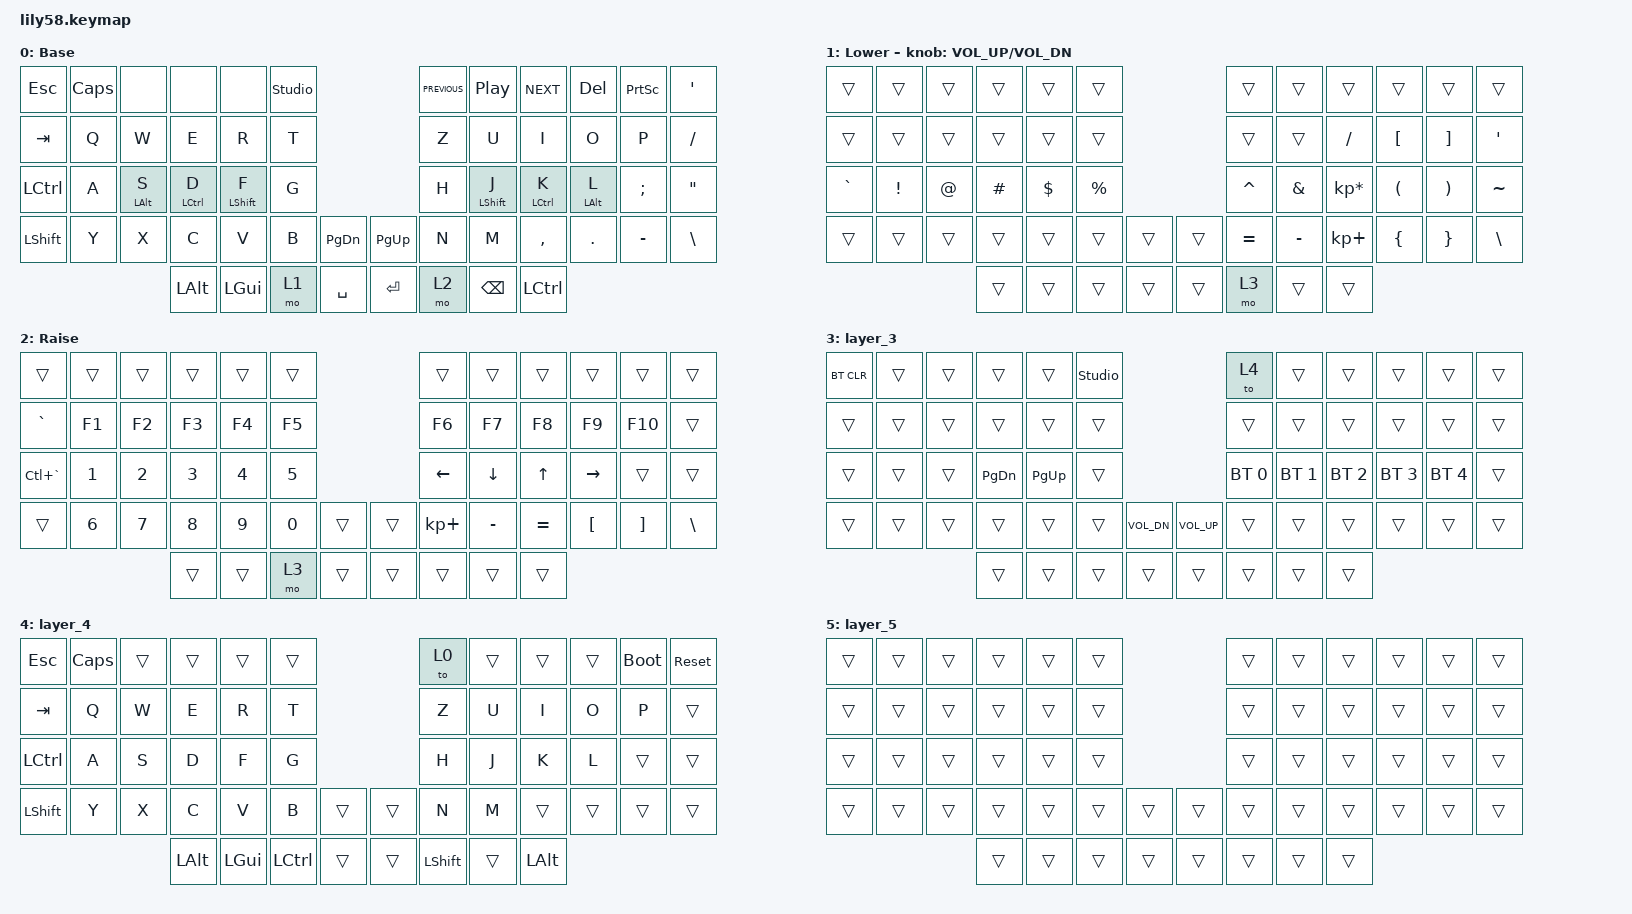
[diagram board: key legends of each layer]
/*
 * Copyright (c) 2020 The ZMK Contributors
 *
 * SPDX-License-Identifier: MIT
 */

#include <behaviors.dtsi>
#include <dt-bindings/zmk/bt.h>
#include <dt-bindings/zmk/keys.h>

&mt {
    flavor = "tap-preferred";
    tapping-term-ms = <170>;
};

/ {
    combos {
        compatible = "zmk,combos";

        caps_combo {
            bindings = <&kp CAPSLOCK>;
            key-positions = <26 27 28>;
            timeout-ms = <0>;
            layers = <0 2 3>;
        };

        esc_combo {
            bindings = <&kp ESCAPE>;
            key-positions = <33 32 31>;
            layers = <0 2 3>;
        };
    };

    keymap {
        compatible = "zmk,keymap";

        default_layer {
            // ------------------------------------------------------------------------------------------------------------
            // |  ESC  |  1  |  2  |  3   |  4   |  5   |                   |  6   |  7    |  8    |  9   |   0   |   `   |
            // |  TAB  |  Q  |  W  |  E   |  R   |  T   |                   |  Y   |  U    |  I    |  O   |   P   |   -   |
            // |  CTRL |  A  |  S  |  D   |  F   |  G   |                   |  H   |  J    |  K    |  L   |   ;   |   '   |
            // | SHIFT |  Z  |  X  |  C   |  V   |  B   |   "["  |  |  "]"  |  N   |  M    |  ,    |  .   |   /   | SHIFT |
            //                     | ALT  | GUI  | LOWER|  SPACE |  | ENTER | RAISE| BSPC  | GUI   |

            display-name = "Base";
            bindings = <
&kp ESC    &kp CAPSLOCK  &none           &none        &none             &studio_unlock                                &kp C_PREVIOUS  &kp C_PLAY_PAUSE  &kp C_NEXT   &kp DEL         &kp PRINTSCREEN  &kp SQT
&kp TAB    &kp Q         &kp W           &kp E        &kp R             &kp T                                         &kp Z           &kp U             &kp I        &kp O           &kp P            &kp SLASH
&kp LCTRL  &kp A         &mt LEFT_ALT S  &mt LCTRL D  &mt LEFT_SHIFT F  &kp G                                         &kp H           &mt LEFT_SHIFT J  &mt LCTRL K  &mt LEFT_ALT L  &kp SEMI         &kp DOUBLE_QUOTES
&kp LSHFT  &kp Y         &kp X           &kp C        &kp V             &kp B           &kp PAGE_DOWN    &kp PAGE_UP  &kp N           &kp M             &kp COMMA    &kp DOT         &kp MINUS        &kp BACKSLASH
                                         &kp LALT     &kp LGUI          &mo 1           &kp SPACE        &kp RET      &mo 2           &kp BSPC          &kp LCTRL
            >;
        };

        lower_layer {
            // ------------------------------------------------------------------------------------------------------------
            // | BTCLR | BT1 | BT2 |  BT3 |  BT4 |  BT5 |                   |      |       |       |      |       |       |
            // |  F1   |  F2 |  F3 |  F4  |  F5  |  F6  |                   |  F7  |  F8   |  F9   |  F10 |  F11  |  F12  |
            // |   `   |  !  |  @  |  #   |  $   |  %   |                   |  ^   |  &    |  *    |  (   |   )   |   ~   |
            // |       |     |     |      |      |      |        |  |       |      |  _    |  +    |  {   |   }   |  "|"  |
            //                     |      |      |      |        |  |       |      |       |       |

            display-name = "Lower";
            bindings = <
&trans     &trans    &trans  &trans    &trans      &trans                       &trans     &trans     &trans           &trans            &trans             &trans
&trans     &trans    &trans  &trans    &trans      &trans                       &trans     &trans     &kp SLASH        &kp LEFT_BRACKET  &kp RIGHT_BRACKET  &kp SQT
&kp GRAVE  &kp EXCL  &kp AT  &kp HASH  &kp DOLLAR  &kp PRCNT                    &kp CARET  &kp AMPS   &kp KP_MULTIPLY  &kp LPAR          &kp RPAR           &kp TILDE
&trans     &trans    &trans  &trans    &trans      &trans     &trans    &trans  &kp EQUAL  &kp MINUS  &kp KP_PLUS      &kp LBRC          &kp RBRC           &kp BACKSLASH
                             &trans    &trans      &trans     &trans    &trans  &mo 3      &trans     &trans
            >;

            sensor-bindings = <&inc_dec_kp C_VOL_UP C_VOL_DN>;
        };

        raise_layer {
            // ------------------------------------------------------------------------------------------------------------
            // |       |     |     |      |      |      |                   |      |       |       |      |       |       |
            // |   `   |  1  |  2  |  3   |  4   |  5   |                   |  6   |   7   |   8   |  9   |   0   |       |
            // |   F1  |  F2 |  F3 |  F4  |  F5  |  F6  |                   |      |   <-  |   v   |  ^   |  ->   |       |
            // |   F7  |  F8 |  F9 |  F10 |  F11 |  F12 |        |  |       |  +   |   -   |   =   |  [   |   ]   |   \   |
            //                     |      |      |      |        |  |       |      |       |       |

            display-name = "Raise";
            bindings = <
&trans         &trans        &trans        &trans        &trans        &trans                    &trans       &trans          &trans        &trans     &trans    &trans
&kp GRAVE      &kp F1        &kp F2        &kp F3        &kp F4        &kp F5                    &kp F6       &kp F7          &kp F8        &kp F9     &kp F10   &trans
&kp LC(GRAVE)  &kp NUMBER_1  &kp NUMBER_2  &kp NUMBER_3  &kp NUMBER_4  &kp N5                    &kp LEFT     &kp DOWN_ARROW  &kp UP_ARROW  &kp RIGHT  &trans    &trans
&trans         &kp NUMBER_6  &kp N7        &kp N8        &kp N9        &kp N0  &trans    &trans  &kp KP_PLUS  &kp MINUS       &kp EQUAL     &kp LBKT   &kp RBKT  &kp BSLH
                                           &trans        &trans        &mo 3   &trans    &trans  &trans       &trans          &trans
            >;
        };

        layer_3 {
            bindings = <
&bt BT_CLR  &trans  &trans  &trans         &trans       &studio_unlock                                   &to 4         &trans        &trans        &trans        &trans        &trans
&trans      &trans  &trans  &trans         &trans       &trans                                           &trans        &trans        &trans        &trans        &trans        &trans
&trans      &trans  &trans  &kp PAGE_DOWN  &kp PAGE_UP  &trans                                           &bt BT_SEL 0  &bt BT_SEL 1  &bt BT_SEL 2  &bt BT_SEL 3  &bt BT_SEL 4  &trans
&trans      &trans  &trans  &trans         &trans       &trans          &kp C_VOL_DN    &kp C_VOLUME_UP  &trans        &trans        &trans        &trans        &trans        &trans
                            &trans         &trans       &trans          &trans          &trans           &trans        &trans        &trans
            >;
        };

        layer_4 {
            bindings = <
&kp ESC         &kp CAPSLOCK  &trans  &trans        &trans        &trans                       &to 0           &trans  &trans        &trans  &bootloader  &sys_reset
&kp TAB         &kp Q         &kp W   &kp E         &kp R         &kp T                        &kp Z           &kp U   &kp I         &kp O   &kp P        &trans
&kp LCTRL       &kp A         &kp S   &kp D         &kp F         &kp G                        &kp H           &kp J   &kp K         &kp L   &trans       &trans
&kp LEFT_SHIFT  &kp Y         &kp X   &kp C         &kp V         &kp B      &trans    &trans  &kp N           &kp M   &trans        &trans  &trans       &trans
                                      &kp LEFT_ALT  &kp LEFT_GUI  &kp LCTRL  &trans    &trans  &kp LEFT_SHIFT  &trans  &kp LEFT_ALT
            >;
        };

        layer_5 {
            bindings = <
&trans  &trans  &trans  &trans  &trans  &trans                    &trans  &trans  &trans  &trans  &trans  &trans
&trans  &trans  &trans  &trans  &trans  &trans                    &trans  &trans  &trans  &trans  &trans  &trans
&trans  &trans  &trans  &trans  &trans  &trans                    &trans  &trans  &trans  &trans  &trans  &trans
&trans  &trans  &trans  &trans  &trans  &trans  &trans    &trans  &trans  &trans  &trans  &trans  &trans  &trans
                        &trans  &trans  &trans  &trans    &trans  &trans  &trans  &trans
            >;
        };
    };
};
